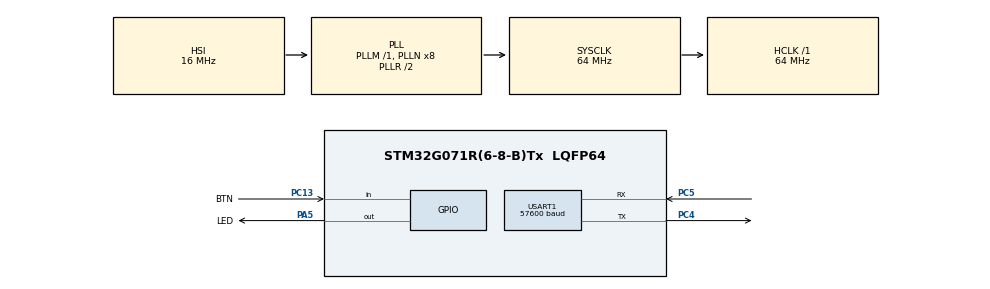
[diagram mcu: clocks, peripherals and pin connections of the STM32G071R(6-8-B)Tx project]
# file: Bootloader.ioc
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Mcu.Family=STM32G0
Mcu.Name=STM32G071R(6-8-B)Tx
Mcu.Package=LQFP64
NVIC.FLASH_IRQn=true\:0\:0\:false\:false\:true\:true\:true
PA5.GPIO_Label=LED
PA5.Signal=GPIO_Output
PC13.GPIO_Label=BTN
PC13.Signal=GPIO_Input
PC4.Mode=Asynchronous
PC4.Signal=USART1_TX
PC5.Mode=Asynchronous
PC5.Signal=USART1_RX
ProjectManager.HeapSize=0x200
ProjectManager.StackSize=0x400
ProjectManager.TargetToolchain=Makefile
RCC.ADCFreq_Value=64000000
RCC.AHBFreq_Value=64000000
RCC.CortexFreq_Value=64000000
RCC.EXTERNAL_CLOCK_VALUE=48000
RCC.HCLKFreq_Value=64000000
RCC.HSE_VALUE=8000000
RCC.HSI_VALUE=16000000
RCC.LSE_VALUE=32768
RCC.SYSCLKFreq_VALUE=64000000
RCC.SYSCLKSource=RCC_SYSCLKSOURCE_PLLCLK
RCC.VCOOutputFreq_Value=128000000
USART1.BaudRate=57600
USART1.VirtualMode-Asynchronous=VM_ASYNC
VP_SYS_VS_DBSignals.Mode=DisableDeadBatterySignals
board=custom

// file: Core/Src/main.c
/* USER CODE BEGIN Header */
/**
  ******************************************************************************
  * @file           : main.c
  * @brief          : Main program body
  ******************************************************************************
  * @attention
  *
  * <h2><center>&copy; Copyright (c) 2022 STMicroelectronics.
  * All rights reserved.</center></h2>
  *
  * This software component is licensed by ST under BSD 3-Clause license,
  * the "License"; You may not use this file except in compliance with the
  * License. You may obtain a copy of the License at:
  *                        opensource.org/licenses/BSD-3-Clause
  *
  ******************************************************************************
  */
/* USER CODE END Header */
#include "main.h"
#include "usart.h"
#include "gpio.h"

/* USER CODE BEGIN Includes */
#include "debug.h"
#include "stdint.h"
#include "stm32g0xx_hal_flash.h"
#include "string.h"
#include "bootloader.h"
#include "stm32g0xx_hal_cortex.h"
/* USER CODE END Includes */

void SystemClock_Config(void);

int main(void)
{

  /* MCU Configuration--------------------------------------------------------*/

  /* Reset of all peripherals, Initializes the Flash interface and the Systick. */
  HAL_Init();

  /* Configure the system clock */
  SystemClock_Config();

  /* Initialize all configured peripherals */
  MX_GPIO_Init();
  MX_USART1_UART_Init();
  /* USER CODE BEGIN 2 */
  uint8_t buffer[300] = { 0 };
  uint32_t app_address = MAIN_APP_ADDRESS;

  // uint8_t xxx[4] = { 1, 2, 3, 4 };
  // EraseTheApp();
  // ProgramApplication(xxx, &app_address, 4);

  if (IN_BOOT_MODE){
    bootloader_header_t boot;
    uint32_t ticks = HAL_GetTick();
    while(1){
      HAL_GPIO_TogglePin(LED_GPIO_Port, LED_Pin);
      if (ReceiveHeader(&boot) == HAL_OK){
        ticks = HAL_GetTick();
        strncpy(boot.device_dest, boot.device_src, 4);
        strncpy(boot.device_src, MYNAME, 4);
        switch(boot.cmd){
          case(PING):
            app_address = MAIN_APP_ADDRESS;
            boot.cmd = BOOT_OK;
            break;
          case(WRITE):
            if (HAL_UART_Receive(&huart1, buffer, boot.payload_size, 300) != HAL_OK){
              boot.cmd = BOOT_ERROR;
              break;
            }
            if (ProgramApplication(buffer, &app_address, boot.payload_size) == HAL_OK)
              boot.cmd = BOOT_OK;
            else boot.cmd = BOOT_ERROR;
            break;
          case(ERASE):
            app_address = MAIN_APP_ADDRESS;
            if (EraseTheApp() == HAL_OK)
              boot.cmd = BOOT_OK;
            else boot.cmd = BOOT_ERROR;
            break;
          case(READ):
            app_address = MAIN_APP_ADDRESS;
            boot.cmd = BOOT_OK;
            break;
          case(JUMP):
            app_address = MAIN_APP_ADDRESS;
            boot.cmd = BOOT_OK;
            SendHeader(&boot);
            JumpToApp();
            break;
        }
        SendHeader(&boot);
      }
    }
    HAL_GPIO_WritePin(LED_GPIO_Port, LED_Pin, 0);
  }
  else{
    // print_in("Data: 0x%X\r\n", *(uint32_t *)MAIN_APP_ADDRESS);
  }
  volatile uint32_t value = *(uint32_t *)MAIN_APP_ADDRESS;
  /* USER CODE END 2 */

  /* Infinite loop */
  while (1)
  {
    if (value != 10)
    HAL_GPIO_TogglePin(LED_GPIO_Port, LED_Pin);
    HAL_Delay(50);
  }
}

void SystemClock_Config(void)
{
  RCC_OscInitTypeDef RCC_OscInitStruct = {0};
  RCC_ClkInitTypeDef RCC_ClkInitStruct = {0};
  RCC_PeriphCLKInitTypeDef PeriphClkInit = {0};

  /** Configure the main internal regulator output voltage
  */
  HAL_PWREx_ControlVoltageScaling(PWR_REGULATOR_VOLTAGE_SCALE1);
  /** Initializes the RCC Oscillators according to the specified parameters
  * in the RCC_OscInitTypeDef structure.
  */
  RCC_OscInitStruct.OscillatorType = RCC_OSCILLATORTYPE_HSI;
  RCC_OscInitStruct.HSIState = RCC_HSI_ON;
  RCC_OscInitStruct.HSIDiv = RCC_HSI_DIV1;
  RCC_OscInitStruct.HSICalibrationValue = RCC_HSICALIBRATION_DEFAULT;
  RCC_OscInitStruct.PLL.PLLState = RCC_PLL_ON;
  RCC_OscInitStruct.PLL.PLLSource = RCC_PLLSOURCE_HSI;
  RCC_OscInitStruct.PLL.PLLM = RCC_PLLM_DIV1;
  RCC_OscInitStruct.PLL.PLLN = 8;
  RCC_OscInitStruct.PLL.PLLP = RCC_PLLP_DIV2;
  RCC_OscInitStruct.PLL.PLLQ = RCC_PLLQ_DIV2;
  RCC_OscInitStruct.PLL.PLLR = RCC_PLLR_DIV2;
  if (HAL_RCC_OscConfig(&RCC_OscInitStruct) != HAL_OK)
  {
    Error_Handler();
  }
  /** Initializes the CPU, AHB and APB buses clocks
  */
  RCC_ClkInitStruct.ClockType = RCC_CLOCKTYPE_HCLK|RCC_CLOCKTYPE_SYSCLK
                              |RCC_CLOCKTYPE_PCLK1;
  RCC_ClkInitStruct.SYSCLKSource = RCC_SYSCLKSOURCE_PLLCLK;
  RCC_ClkInitStruct.AHBCLKDivider = RCC_SYSCLK_DIV1;
  RCC_ClkInitStruct.APB1CLKDivider = RCC_HCLK_DIV1;

  if (HAL_RCC_ClockConfig(&RCC_ClkInitStruct, FLASH_LATENCY_2) != HAL_OK)
  {
    Error_Handler();
  }
  /** Initializes the peripherals clocks
  */
  PeriphClkInit.PeriphClockSelection = RCC_PERIPHCLK_USART1;
  PeriphClkInit.Usart1ClockSelection = RCC_USART1CLKSOURCE_PCLK1;
  if (HAL_RCCEx_PeriphCLKConfig(&PeriphClkInit) != HAL_OK)
  {
    Error_Handler();
  }
}

void Error_Handler(void)
{
  __disable_irq();
  while (1)
  {
  }
}

/************************ (C) COPYRIGHT STMicroelectronics *****END OF FILE****/
